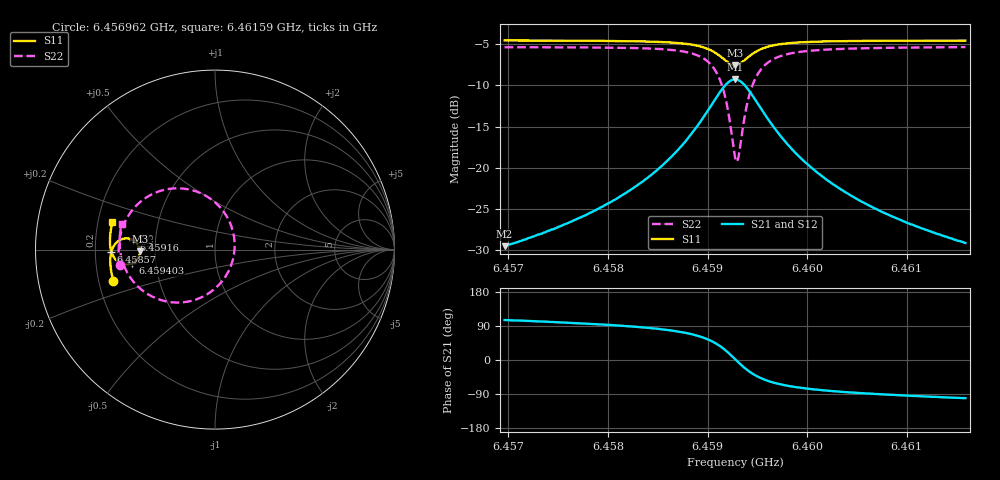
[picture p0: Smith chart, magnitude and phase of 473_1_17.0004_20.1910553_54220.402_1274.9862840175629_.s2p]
#  HZ  S  RI  R  50.00
! Rohde & Schwarz Vector Network Analyzer
! Rohde-Schwarz,ZNB20-2Port,1311601062101988,3.16
! Created: UTC 3/20/2024, 11:13:15 PM
! freq[Hz]  re:S11  im:S11  re:S21  im:S21  re:S12  im:S12  re:S22  im:S22
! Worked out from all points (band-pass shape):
!   401 points, 6.456962 GHz to 6.46159 GHz, reference 50 ohm
!   highest |S21| = -9.28 dB at 6.459276 GHz (marker M1); lowest = -29.5 dB at 6.456962 GHz (marker M2)
!   |S21| within 3 dB of the highest: 6.459046 GHz to 6.459508 GHz (462.2 kHz wide, 0.00716 % of centre)
!   lowest |S11| = -7.6 dB at 6.459276 GHz (marker M3), VSWR 2.44, Z = 20.5 - j0.494 ohm
!   |S11| at or under -10 dB: nowhere
!   |S22| runs from -19.2 to -5.4 dB; largest |S21 - S12| = 0.014
!   S11 on the Smith chart (normalised r, x): 6.456962 GHz: 0.26, -0.14; 6.45857 GHz: 0.27, -0.01; 6.45916 GHz: 0.37, +0.05; 6.459403 GHz: 0.37, -0.07; 6.46159 GHz: 0.26, +0.12
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6.4569618e9  -0.5663 -0.1732  -0.00894 0.0322  -0.00726 0.0322  -0.5314 -0.0862
6.4577371e9  -0.5805 -0.1056  -0.00581 0.05  -0.00321 0.0494  -0.5371 0.00401
6.4581652e9  -0.5836 -0.0629  0.000385 0.0693  0.00351 0.068  -0.5292 0.0713
6.4585124e9  -0.5798 -0.0215  0.014 0.0981  0.0179 0.0954  -0.5041 0.149
6.4585702e9  -0.5781 -0.0136  0.018 0.1049  0.0223 0.1018  -0.4961 0.1656
6.4587785e9  -0.5652 0.0183  0.0454 0.137  0.0497 0.1323  -0.4451 0.2381
6.4589289e9  -0.5429 0.0447  0.0905 0.1675  0.0936 0.1609  -0.3623 0.3025
6.4590678e9  -0.4993 0.0624  0.1768 0.1841  0.1778 0.1769  -0.2043 0.3415
6.4591604e9  -0.4551 0.0525  0.2663 0.1536  0.2665 0.1476  -0.0386 0.2922
6.4592067e9  -0.4339 0.0338  0.3098 0.111  0.311 0.1057  0.0441 0.2166
6.4592761e9  -0.4191 -0.00994  0.3433 0.0147  0.3469 0.00788  0.1094 0.0379
6.4592992e9  -0.4208 -0.026  0.3412 -0.0203  0.3451 -0.0286  0.1054 -0.0285
6.4593108e9  -0.4229 -0.0335  0.3377 -0.0373  0.3414 -0.0465  0.0985 -0.0608
6.4593571e9  -0.4384 -0.0594  0.3095 -0.0971  0.3116 -0.109  0.0414 -0.1739
6.4594034e9  -0.4603 -0.0757  0.2676 -0.1381  0.2668 -0.1513  -0.0431 -0.2487
6.4594959e9  -0.5035 -0.0825  0.1833 -0.1693  0.1772 -0.1807  -0.2111 -0.295
6.4596464e9  -0.547 -0.062  0.0957 -0.1557  0.0873 -0.1618  -0.3779 -0.2459
6.4598199e9  -0.5695 -0.0325  0.049 -0.1262  0.0414 -0.1287  -0.4618 -0.1695
6.4600514e9  -0.5811 0.00137  0.0222 -0.0966  0.0164 -0.0972  -0.506 -0.0921
6.4604101e9  -0.5856 0.0436  0.00591 -0.0694  0.00181 -0.0689  -0.5277 -0.0109
6.4608267e9  -0.5835 0.0852  -0.00157 -0.0515  -0.00434 -0.0507  -0.5315 0.0551
6.4615904e9  -0.5711 0.1528  -0.0065 -0.0343  -0.00828 -0.0334  -0.5199 0.1448
